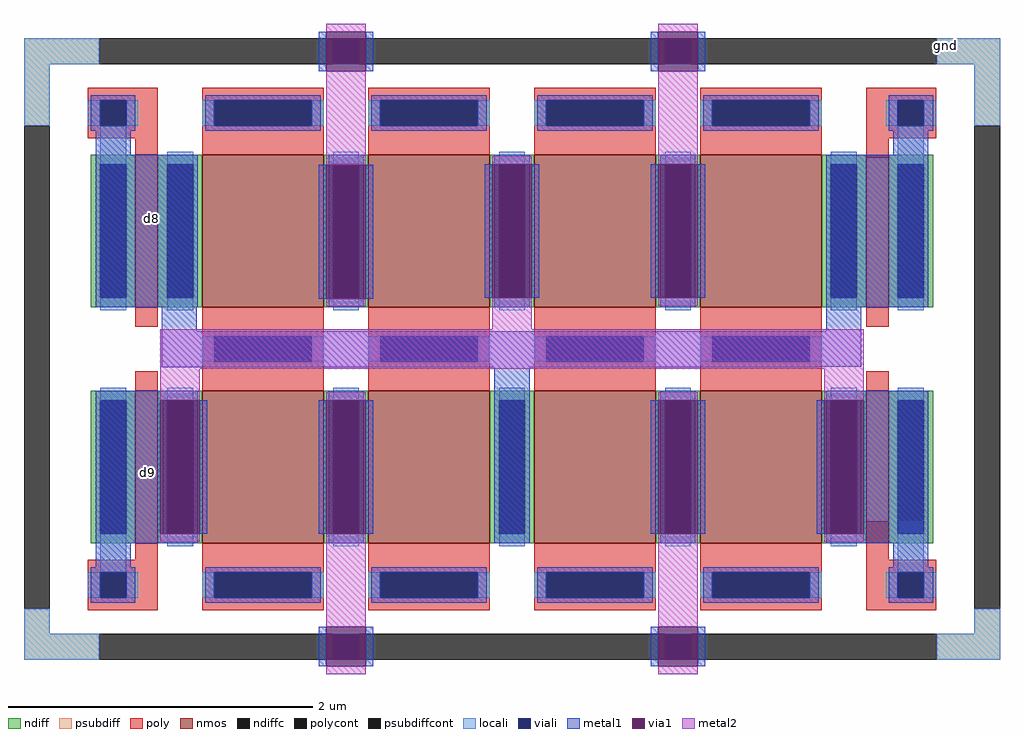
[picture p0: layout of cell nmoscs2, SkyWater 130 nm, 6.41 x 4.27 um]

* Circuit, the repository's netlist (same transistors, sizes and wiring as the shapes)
** sch_path: /home/riff/mbkm-polytron/opamp/mag/nmoscs2.sch
.subckt nmoscs2 GND D9 D8
*.PININFO GND:B D9:B D8:B
XM8 D8 D8 GND GND sky130_fd_pr__nfet_01v8 L=0.8 W=1 nf=1 m=4
XM9 D9 D8 GND GND sky130_fd_pr__nfet_01v8 L=0.8 W=1 nf=1 m=4
XM1 D8 D8 D8 GND sky130_fd_pr__nfet_01v8 L=0.15 W=1 nf=1 m=2
XM2 D9 D9 D9 GND sky130_fd_pr__nfet_01v8 L=0.15 W=1 nf=1 m=2
.ends
.end

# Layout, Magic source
magic
tech sky130A
magscale 1 2
<< psubdiff >>
rect 1081 585 1180 619
rect 2280 585 2363 619
rect 1081 504 1115 585
rect 2329 504 2363 585
rect 1081 -163 1115 -130
rect 2329 -163 2363 -130
rect 1081 -197 1180 -163
rect 2280 -197 2363 -163
<< psubdiffcont >>
rect 1180 585 2280 619
rect 1081 -130 1115 504
rect 2329 -130 2363 504
rect 1180 -197 2280 -163
<< poly >>
rect 1165 538 1257 554
rect 1165 504 1181 538
rect 1215 504 1257 538
rect 1165 488 1257 504
rect 1227 466 1257 488
rect 2187 538 2279 554
rect 2187 504 2229 538
rect 2263 504 2279 538
rect 2187 488 2279 504
rect 2187 462 2217 488
rect 1227 -66 1257 -44
rect 1165 -82 1257 -66
rect 1165 -116 1181 -82
rect 1215 -116 1257 -82
rect 1165 -132 1257 -116
rect 2187 -66 2217 -15
rect 2187 -82 2279 -66
rect 2187 -116 2229 -82
rect 2263 -116 2279 -82
rect 2187 -132 2279 -116
<< polycont >>
rect 1181 504 1215 538
rect 2229 504 2263 538
rect 1181 -116 1215 -82
rect 2229 -116 2263 -82
<< locali >>
rect 1081 585 1180 619
rect 2280 585 2363 619
rect 1081 504 1115 585
rect 1165 504 1181 538
rect 1215 504 1231 538
rect 2213 504 2229 538
rect 2263 504 2279 538
rect 2329 504 2363 585
rect 1181 466 1215 504
rect 2229 462 2263 504
rect 1181 -82 1215 -44
rect 2229 -82 2263 -15
rect 1165 -116 1181 -82
rect 1215 -116 1231 -82
rect 2213 -116 2229 -82
rect 2263 -116 2279 -82
rect 1081 -163 1115 -130
rect 2329 -163 2363 -130
rect 1081 -197 1180 -163
rect 2280 -197 2363 -163
<< viali >>
rect 1487 585 1521 619
rect 1923 585 1957 619
rect 1181 504 1215 538
rect 2229 504 2263 538
rect 1181 -116 1215 -82
rect 2229 -116 2263 -82
rect 1487 -197 1521 -163
rect 1923 -197 1957 -163
<< metal1 >>
rect 1468 576 1478 628
rect 1530 576 1540 628
rect 1904 576 1914 628
rect 1966 576 1976 628
rect 1169 538 1227 544
rect 1169 504 1181 538
rect 1215 504 1227 538
rect 1169 498 1227 504
rect 2217 538 2275 544
rect 2217 504 2229 538
rect 2263 504 2275 538
rect 2217 498 2275 504
rect 1175 466 1221 498
rect 2223 466 2269 498
rect 1175 266 1309 466
rect 1468 277 1478 453
rect 1530 277 1540 453
rect 1686 278 1696 454
rect 1748 278 1758 454
rect 1904 278 1914 454
rect 1966 278 1976 454
rect 2135 266 2269 466
rect 1262 234 1308 266
rect 2135 234 2181 266
rect 1262 188 2181 234
rect 1262 187 2125 188
rect 1175 144 1309 156
rect 1175 -31 1260 144
rect 1175 -44 1213 -31
rect 1219 -32 1260 -31
rect 1312 -32 1322 144
rect 1468 -32 1478 144
rect 1530 -32 1540 144
rect 1219 -44 1309 -32
rect 1699 -44 1745 187
rect 2135 144 2269 156
rect 1904 -32 1914 144
rect 1966 -32 1976 144
rect 2122 -32 2132 144
rect 2184 -32 2269 144
rect 2135 -44 2269 -32
rect 1175 -76 1221 -44
rect 2223 -76 2269 -44
rect 1169 -82 1227 -76
rect 1169 -116 1181 -82
rect 1215 -116 1227 -82
rect 1169 -122 1227 -116
rect 2217 -82 2275 -76
rect 2217 -116 2229 -82
rect 2263 -116 2275 -82
rect 2217 -122 2275 -116
rect 1468 -206 1478 -154
rect 1530 -206 1540 -154
rect 1904 -206 1914 -154
rect 1966 -206 1976 -154
<< via1 >>
rect 1478 619 1530 628
rect 1478 585 1487 619
rect 1487 585 1521 619
rect 1521 585 1530 619
rect 1478 576 1530 585
rect 1914 619 1966 628
rect 1914 585 1923 619
rect 1923 585 1957 619
rect 1957 585 1966 619
rect 1914 576 1966 585
rect 1478 277 1530 453
rect 1696 278 1748 454
rect 1914 278 1966 454
rect 1260 -32 1312 144
rect 1478 -32 1530 144
rect 1914 -32 1966 144
rect 2132 -32 2184 144
rect 1478 -163 1530 -154
rect 1478 -197 1487 -163
rect 1487 -197 1521 -163
rect 1521 -197 1530 -163
rect 1478 -206 1530 -197
rect 1914 -163 1966 -154
rect 1914 -197 1923 -163
rect 1923 -197 1957 -163
rect 1957 -197 1966 -163
rect 1914 -206 1966 -197
<< metal2 >>
rect 1478 628 1530 638
rect 1478 453 1530 576
rect 1914 628 1966 638
rect 1478 267 1530 277
rect 1696 454 1748 464
rect 1696 237 1748 278
rect 1914 454 1966 576
rect 1914 268 1966 278
rect 1260 185 2184 237
rect 1260 144 1312 185
rect 1260 -42 1312 -32
rect 1478 144 1530 154
rect 1478 -154 1530 -32
rect 1478 -216 1530 -206
rect 1914 144 1966 154
rect 1914 -154 1966 -32
rect 2132 144 2184 185
rect 2132 -42 2184 -32
rect 1914 -216 1966 -206
use sky130_fd_pr__nfet_01v8_6H9P4D  sky130_fd_pr__nfet_01v8_6H9P4D_0
transform 1 0 2202 0 1 56
box -73 -126 73 126
use sky130_fd_pr__nfet_01v8_6H9P4D  sky130_fd_pr__nfet_01v8_6H9P4D_1
transform 1 0 1242 0 1 56
box -73 -126 73 126
use sky130_fd_pr__nfet_01v8_6H9P4D  sky130_fd_pr__nfet_01v8_6H9P4D_2
transform 1 0 1242 0 1 366
box -73 -126 73 126
use sky130_fd_pr__nfet_01v8_6H9P4D  sky130_fd_pr__nfet_01v8_6H9P4D_3
transform 1 0 2202 0 1 366
box -73 -126 73 126
use sky130_fd_pr__nfet_01v8_YJHC9X  sky130_fd_pr__nfet_01v8_YJHC9X_0
transform 1 0 1722 0 1 211
box -465 -343 465 343
<< labels >>
flabel metal1 1248 383 1248 383 0 FreeSans 480 0 0 0 d8
port 1 nsew
flabel metal1 1243 49 1243 49 0 FreeSans 480 0 0 0 d9
port 2 nsew
flabel locali 2292 609 2292 609 0 FreeSans 480 0 0 0 gnd
port 0 nsew
<< end >>

# cell sky130_fd_pr__nfet_01v8_6H9P4D: kit device sky130_fd_pr__nfet_01v8, w 1 l 0.150 m 1 nf 1 diffcov 100 polycov 100 guard 0 glc 1 grc 1 gtc 1 gbc 1 tbcov 100 rlcov 100 topc 0 botc 0 poverlap 0 doverlap 1 lmin 0.15 wmin 0.42 compatible {sky130_fd_pr__nfet_01v8 sky130_fd_pr__nfet_01v8_lvt sky130_fd_bs_flash__special_sonosfet_star sky130_fd_pr__nfet_g5v0d10v5 sky130_fd_pr__nfet_05v0_nvt sky130_fd_pr__nfet_03v3_nvt} full_metal 1 viasrc 100 viadrn 100 viagate 100 viagb 0 viagr 0 viagl 0 viagt 0

# cell sky130_fd_pr__nfet_01v8_YJHC9X: kit device sky130_fd_pr__nfet_01v8, w 1 l 0.8 m 2 nf 4 diffcov 100 polycov 100 guard 0 glc 1 grc 1 gtc 1 gbc 1 tbcov 100 rlcov 100 topc 1 botc 1 poverlap 1 doverlap 1 lmin 0.15 wmin 0.42 compatible {sky130_fd_pr__nfet_01v8 sky130_fd_pr__nfet_01v8_lvt sky130_fd_bs_flash__special_sonosfet_star sky130_fd_pr__nfet_g5v0d10v5 sky130_fd_pr__nfet_05v0_nvt sky130_fd_pr__nfet_03v3_nvt} full_metal 1 viasrc 100 viadrn 100 viagate 100 viagb 0 viagr 0 viagl 0 viagt 0
